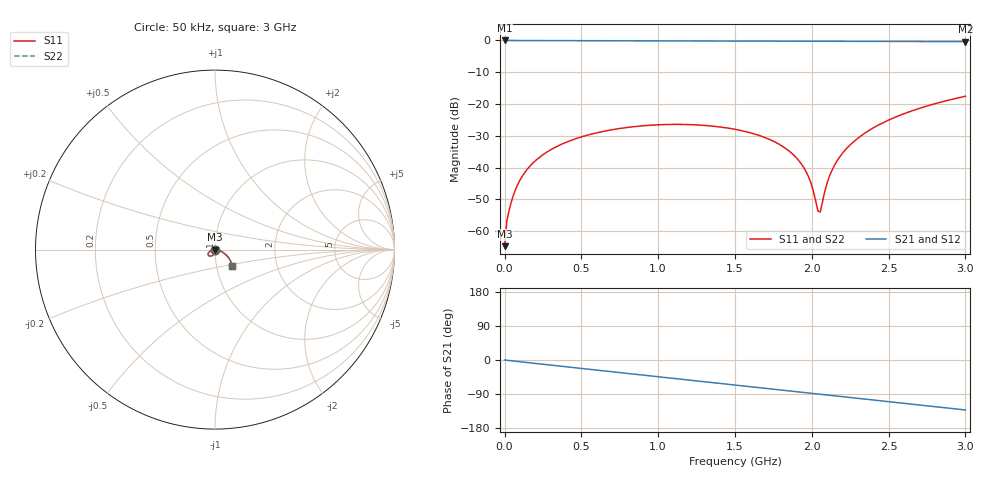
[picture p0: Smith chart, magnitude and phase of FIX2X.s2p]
! FIX2X: 2x thru: two 10 mm launch halves back to back, for de-embedding
! Predicted from examples/coupon/si-coupon.tsx by scripts/predict-coupon.tsx (routed 2.5D ladder, 43 series cells, ngspice AC).
! SMA pads enter as parallel-plate C; connector bodies are not modelled, so compare through the FIX2X 2x-thru.
! Port order: J1, J2.
# HZ S RI R 50
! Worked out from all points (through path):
!   201 points, 50 kHz to 3 GHz, reference 50 ohm
!   highest |S21| = -0.01 dB at 50 kHz (marker M1); lowest = -0.4 dB at 3 GHz (marker M2)
!   group delay of S21, straight-line fit = 122 ps
!   lowest |S11| = -64.7 dB at 50 kHz (marker M3), VSWR 1.00, Z = 50.1 + j0.00132 ohm
!   |S11| at or under -10 dB: start of sweep to end of sweep
!   |S22| runs from -64.7 to -17.6 dB; largest |S21 - S12| = 0
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50000  0.000582 1.32e-05  0.9994 -5.83e-05  0.9994 -5.83e-05  0.000582 1.32e-05
1.504975e7  0.00139 -0.000473  0.9983 -0.0127  0.9983 -0.0127  0.00139 -0.000473
4.504925e7  0.00179 -0.00238  0.9969 -0.0365  0.9969 -0.0365  0.00179 -0.00238
9.00485e7  0.00184 -0.00543  0.994 -0.0716  0.994 -0.0716  0.00184 -0.00543
1.350478e8  0.00153 -0.00848  0.99 -0.1064  0.99 -0.1064  0.00153 -0.00848
2.850452e8  -0.00136 -0.0181  0.9687 -0.2199  0.9687 -0.2199  -0.00136 -0.0181
5.100415e8  -0.00953 -0.0295  0.9135 -0.3821  0.9135 -0.3821  -0.00953 -0.0295
7.350378e8  -0.02 -0.0355  0.8321 -0.5312  0.8321 -0.5312  -0.02 -0.0355
1.005033e9  -0.0316 -0.0351  0.7038 -0.6877  0.7038 -0.6877  -0.0316 -0.0351
1.500025e9  -0.0359 -0.0178  0.3999 -0.8941  0.3999 -0.8941  -0.0359 -0.0178
1.695022e9  -0.0281 -0.00955  0.2627 -0.942  0.2627 -0.942  -0.0281 -0.00955
1.845019e9  -0.0183 -0.00464  0.1532 -0.9647  0.1532 -0.9647  -0.0183 -0.00464
1.950018e9  -0.00947 -0.00253  0.0753 -0.9731  0.0753 -0.9731  -0.00947 -0.00253
2.010016e9  -0.00383 -0.00197  0.0305 -0.975  0.0305 -0.975  -0.00383 -0.00197
2.040016e9  -0.000857 -0.00188  0.00804 -0.9752  0.00804 -0.9752  -0.000857 -0.00188
2.055016e9  0.000664 -0.00189  -0.00317 -0.9751  -0.00317 -0.9751  0.000664 -0.00189
2.085015e9  0.00377 -0.00202  -0.0256 -0.9745  -0.0256 -0.9745  0.00377 -0.00202
2.115015e9  0.00696 -0.0023  -0.048 -0.9733  -0.048 -0.9733  0.00696 -0.0023
2.190014e9  0.0153 -0.00368  -0.1039 -0.9682  -0.1039 -0.9682  0.0153 -0.00368
2.325011e9  0.031 -0.00887  -0.2033 -0.9506  -0.2033 -0.9506  0.031 -0.00887
2.505008e9  0.0524 -0.0216  -0.3318 -0.9108  -0.3318 -0.9108  0.0524 -0.0216
3e9  0.0968 -0.0905  -0.6392 -0.7133  -0.6392 -0.7133  0.0968 -0.0905
